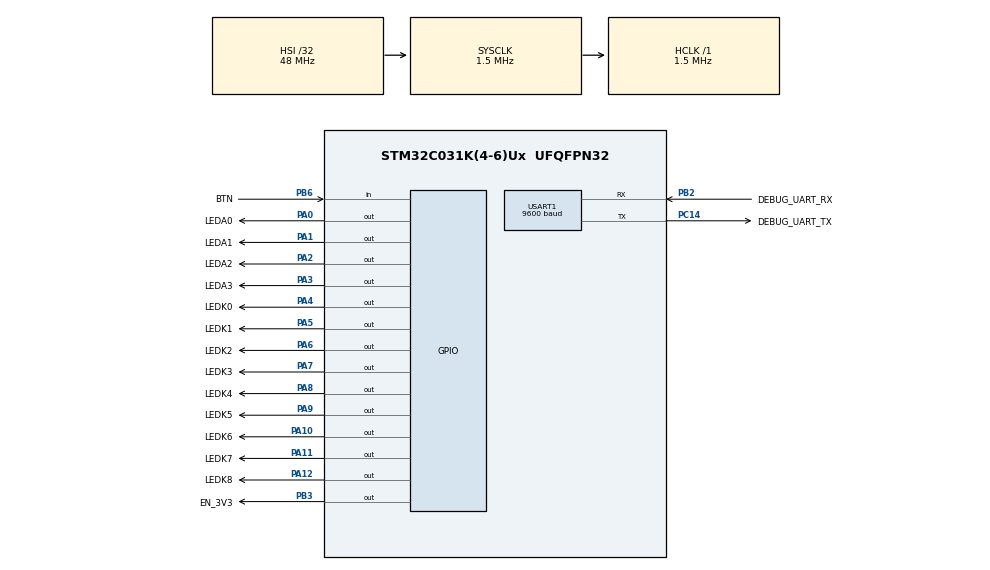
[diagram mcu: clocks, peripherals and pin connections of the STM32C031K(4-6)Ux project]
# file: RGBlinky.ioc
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ADC1.ClockPrescaler=ADC_CLOCK_ASYNC_DIV1
ADC1.NbrOfConversionFlag=0
ADC1.OversamplingMode=ENABLE
ADC1.Ratio=ADC_OVERSAMPLING_RATIO_16
ADC1.Resolution=ADC_RESOLUTION_12B
ADC1.RightBitShift=ADC_RIGHTBITSHIFT_4
ADC1.SamplingTimeCommon1=ADC_SAMPLETIME_12CYCLES_5
ADC1.SelectedChannel=ADC_CHANNEL_VREFINT
ADC1.master=1
Mcu.Family=STM32C0
Mcu.Name=STM32C031K(4-6)Ux
Mcu.Package=UFQFPN32
NVIC.TIM14_IRQn=true\:0\:0\:false\:false\:true\:true\:true\:true
PA0.GPIO_Label=LEDA0
PA0.PinState=GPIO_PIN_SET
PA0.Signal=GPIO_Output
PA1.GPIO_Label=LEDA1
PA1.PinState=GPIO_PIN_SET
PA1.Signal=GPIO_Output
PA10.GPIO_Label=LEDK6
PA10.PinState=GPIO_PIN_SET
PA10.Signal=GPIO_Output
PA11\ [PA9].GPIO_Label=LEDK7
PA11\ [PA9].PinState=GPIO_PIN_SET
PA11\ [PA9].Signal=GPIO_Output
PA12\ [PA10].GPIO_Label=LEDK8
PA12\ [PA10].PinState=GPIO_PIN_SET
PA12\ [PA10].Signal=GPIO_Output
PA13.Mode=Serial_Wire
PA13.Signal=DEBUG_SWDIO
PA14-BOOT0.Mode=Serial_Wire
PA14-BOOT0.Signal=DEBUG_SWCLK
PA2.GPIO_Label=LEDA2
PA2.PinState=GPIO_PIN_SET
PA2.Signal=GPIO_Output
PA3.GPIO_Label=LEDA3
PA3.PinState=GPIO_PIN_SET
PA3.Signal=GPIO_Output
PA4.GPIO_Label=LEDK0
PA4.PinState=GPIO_PIN_SET
PA4.Signal=GPIO_Output
PA5.GPIO_Label=LEDK1
PA5.PinState=GPIO_PIN_SET
PA5.Signal=GPIO_Output
PA6.GPIO_Label=LEDK2
PA6.PinState=GPIO_PIN_SET
PA6.Signal=GPIO_Output
PA7.GPIO_Label=LEDK3
PA7.PinState=GPIO_PIN_SET
PA7.Signal=GPIO_Output
PA8.GPIO_Label=LEDK4
PA8.PinState=GPIO_PIN_SET
PA8.Signal=GPIO_Output
PA9.GPIO_Label=LEDK5
PA9.PinState=GPIO_PIN_SET
PA9.Signal=GPIO_Output
PB2.GPIO_Label=DEBUG_UART_RX
PB2.Mode=Asynchronous
PB2.Signal=USART1_RX
PB3.GPIO_Label=EN_3V3
PB3.Signal=GPIO_Output
PB6.GPIO_Label=BTN
PB6.Signal=GPIO_Input
PC14-OSCX_IN\ (PC14).GPIO_Label=DEBUG_UART_TX
PC14-OSCX_IN\ (PC14).Mode=Asynchronous
PC14-OSCX_IN\ (PC14).Signal=USART1_TX
ProjectManager.HeapSize=0x200
ProjectManager.StackSize=0x400
ProjectManager.TargetToolchain=STM32CubeIDE
RCC.ADCFreq_Value=1500000
RCC.AHBFreq_Value=1500000
RCC.APB1CLKDivider=RCC_APB1_DIV2
RCC.CortexFreq_Value=187500
RCC.Cortex_Div=SYSTICK_CLKSOURCE_HCLK_DIV8
RCC.EXTERNAL_CLOCK_VALUE=12288000
RCC.HCLKFreq_Value=1500000
RCC.HSE_VALUE=8000000
RCC.HSISYSCLKDivider=RCC_HSI_DIV32
RCC.HSI_VALUE=48000000
RCC.LSE_VALUE=32768
RCC.SYSCLKFreq_VALUE=1500000
TIM14.Period=999
TIM14.Prescaler=2999
TIM3.Period=99
TIM3.Prescaler=0
USART1.BaudRate=9600
USART1.VirtualMode-Asynchronous=VM_ASYNC
VP_ADC1_Vref_Input.Mode=IN-Vrefint
VP_TIM14_VS_ClockSourceINT.Mode=Enable_Timer
VP_TIM3_VS_ClockSourceINT.Mode=Internal
board=custom

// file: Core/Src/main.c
/* USER CODE BEGIN Header */
/**
 ******************************************************************************
 * @file           : main.c
 * @brief          : Main program body
 ******************************************************************************
 * @attention
 *
 * Copyright (c) 2025 STMicroelectronics.
 * All rights reserved.
 *
 * This software is licensed under terms that can be found in the LICENSE file
 * in the root directory of this software component.
 * If no LICENSE file comes with this software, it is provided AS-IS.
 *
 ******************************************************************************
 */

/* USER CODE END Header */
#include "main.h"
#include "adc.h"
#include "tim.h"
#include "usart.h"
#include "gpio.h"

/* USER CODE BEGIN Includes */
#include "log.h"
#include "led.h"
#include "battery.h"
#include "button_handler.h"
#include "animation.h"
#include "eeprom.h"

// Redirect printf to UART
int _write(int file, char *ptr, int len) {
	HAL_UART_Transmit(&huart1, (const uint8_t*) ptr, (uint16_t) len, HAL_MAX_DELAY);
	return HAL_OK;
}

volatile bool tickFlag = 0;
/* USER CODE END Includes */

void SystemClock_Config(void);

int main(void)
{

  /* MCU Configuration--------------------------------------------------------*/

  /* Reset of all peripherals, Initializes the Flash interface and the Systick. */
  HAL_Init();

  /* Configure the system clock */
  SystemClock_Config();

  /* Initialize all configured peripherals */
  MX_GPIO_Init();
  MX_ADC1_Init();
  MX_USART1_UART_Init();
  MX_TIM3_Init();
  MX_TIM14_Init();
  /* USER CODE BEGIN 2 */

	/* Build Print Build Time */
    log_message(LOG_IMP, "BUILD", "Build time: " __DATE__ " " __TIME__);
    log_message(LOG_IMP, "BUILD", "Hardware version: " HW_VERSION);
    log_message(LOG_IMP, "BUILD", "Software version: " SW_VERSION);

//	Log_Error("Reset status: %x", RCC->CSR2);

	// Check if we were in standby mode
	if(__HAL_PWR_GET_FLAG(PWR_FLAG_WUF3)) {
		log_message(LOG_INF, "MAIN", "Device waked up.");
	} else {
		log_message(LOG_INF, "MAIN", "Device powered up.");
	}
	__HAL_PWR_CLEAR_FLAG(PWR_FLAG_WUF3);

	// EEPROM_Emul
	eeprom_start();

	/* Init components */
	Led_Init();
	Button_Init(&userBtn);

	/* Start timers */
	HAL_TIM_Base_Start_IT(&htim3);
	HAL_TIM_Base_Start_IT(&htim14);

	Battery_Init();
	Battery_Gauge();
  /* USER CODE END 2 */

  /* Infinite loop */
  /* USER CODE BEGIN WHILE */

	/* Infinite loop */
	log_message(LOG_INF, "MAIN", "Start main...");

	animationFlag = 1;

	while (1) {
		if(tickFlag) {
			tickFlag = 0;
			Button_Tick(&userBtn);
			Animate();
		}
    /* USER CODE END WHILE */

	}
}

void SystemClock_Config(void)
{
  RCC_OscInitTypeDef RCC_OscInitStruct = {0};
  RCC_ClkInitTypeDef RCC_ClkInitStruct = {0};

  __HAL_FLASH_SET_LATENCY(FLASH_LATENCY_0);

  /** Initializes the RCC Oscillators according to the specified parameters
  * in the RCC_OscInitTypeDef structure.
  */
  RCC_OscInitStruct.OscillatorType = RCC_OSCILLATORTYPE_HSI;
  RCC_OscInitStruct.HSIState = RCC_HSI_ON;
  RCC_OscInitStruct.HSIDiv = RCC_HSI_DIV32;
  RCC_OscInitStruct.HSICalibrationValue = RCC_HSICALIBRATION_DEFAULT;
  if (HAL_RCC_OscConfig(&RCC_OscInitStruct) != HAL_OK)
  {
    Error_Handler();
  }

  /** Initializes the CPU, AHB and APB buses clocks
  */
  RCC_ClkInitStruct.ClockType = RCC_CLOCKTYPE_HCLK|RCC_CLOCKTYPE_SYSCLK
                              |RCC_CLOCKTYPE_PCLK1;
  RCC_ClkInitStruct.SYSCLKSource = RCC_SYSCLKSOURCE_HSI;
  RCC_ClkInitStruct.SYSCLKDivider = RCC_SYSCLK_DIV1;
  RCC_ClkInitStruct.AHBCLKDivider = RCC_HCLK_DIV1;
  RCC_ClkInitStruct.APB1CLKDivider = RCC_APB1_DIV2;

  if (HAL_RCC_ClockConfig(&RCC_ClkInitStruct, FLASH_LATENCY_0) != HAL_OK)
  {
    Error_Handler();
  }
}

void Error_Handler(void)
{
  /* USER CODE BEGIN Error_Handler_Debug */
	/* User can add his own implementation to report the HAL error return state */
	__disable_irq();
	log_message(LOG_ERR, "ERROR", "Critical Error!");
	while (1) {}
  /* USER CODE END Error_Handler_Debug */
}
